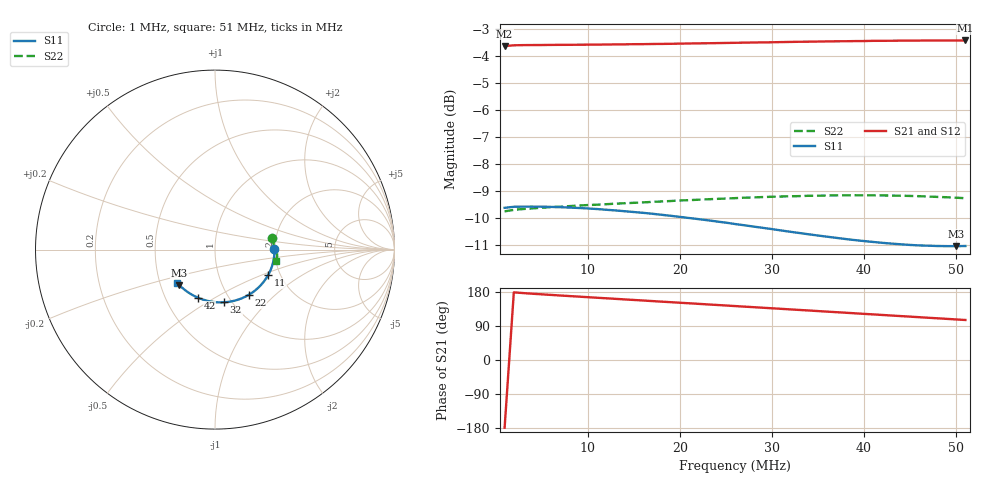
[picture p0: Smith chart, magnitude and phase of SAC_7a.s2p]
# MHz S RI R 50
! S-Parameters data
! Freq  reS11  imS11  reS21  imS21  reS12  imS12  reS22  imS22
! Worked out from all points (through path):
!   51 points, 1 MHz to 51 MHz, reference 50 ohm
!   highest |S21| = -3.43 dB at 51 MHz (marker M1); lowest = -3.6 dB at 1 MHz (marker M2)
!   lowest |S11| = -11.1 dB at 50 MHz (marker M3), VSWR 1.78, Z = 31.2 - j13.4 ohm
!   |S11| at or under -10 dB: 20.87 MHz to end of sweep
!   |S22| runs from -9.8 to -9.2 dB; largest |S21 - S12| = 0.00035
!   S11 on the Smith chart (normalised r, x): 1 MHz: 1.99, +0.01; 11 MHz: 1.73, -0.55; 22 MHz: 1.25, -0.70; 32 MHz: 0.92, -0.59; 42 MHz: 0.72, -0.42; 51 MHz: 0.62, -0.25
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1  0.33 0.00299  -0.658 -0.0146  -0.6581 -0.0146  0.3187 0.0644
2  0.331 -0.018  -0.66 0.0172  -0.6602 0.0172  0.3254 0.0343
3  0.33 -0.0341  -0.6596 0.0391  -0.6596 0.0392  0.3275 0.0237
4  0.3281 -0.049  -0.6584 0.0584  -0.6584 0.0585  0.3287 0.0183
6  0.3223 -0.0771  -0.6546 0.0943  -0.6545 0.0944  0.3307 0.0118
8  0.3137 -0.1037  -0.649 0.1287  -0.6491 0.1288  0.3323 0.00829
10  0.3026 -0.1294  -0.6418 0.1622  -0.642 0.1623  0.3339 0.00543
11  0.2962 -0.1418  -0.6377 0.1787  -0.6378 0.1788  0.3345 0.00407
14  0.2731 -0.1768  -0.6227 0.2274  -0.6228 0.2276  0.3365 0.000427
18  0.2348 -0.218  -0.5973 0.2904  -0.5974 0.2906  0.3391 -0.00446
22  0.1889 -0.2515  -0.566 0.3506  -0.566 0.3505  0.3415 -0.00961
26  0.1369 -0.2759  -0.5284 0.4076  -0.5285 0.4076  0.3436 -0.0155
29  0.0948 -0.2878  -0.4965 0.4476  -0.4966 0.4478  0.3449 -0.0203
32  0.051 -0.2936  -0.4614 0.4855  -0.4616 0.4856  0.3458 -0.0256
35  0.00629 -0.2932  -0.4233 0.5205  -0.4236 0.5205  0.3462 -0.0311
37  -0.0235 -0.2894  -0.3966 0.5421  -0.3967 0.5423  0.3463 -0.035
39  -0.0529 -0.2827  -0.3685 0.5622  -0.3686 0.5623  0.346 -0.0389
42  -0.0963 -0.2674  -0.3243 0.5897  -0.3245 0.5897  0.345 -0.0451
43  -0.1103 -0.2609  -0.3093 0.598  -0.3094 0.5981  0.3445 -0.0471
47  -0.1631 -0.2286  -0.2464 0.6272  -0.2466 0.6273  0.3418 -0.0553
50  -0.1985 -0.1978  -0.1974 0.6444  -0.1975 0.6445  0.3391 -0.0613
51  -0.2094 -0.1864  -0.1809 0.6493  -0.181 0.6494  0.338 -0.0634
